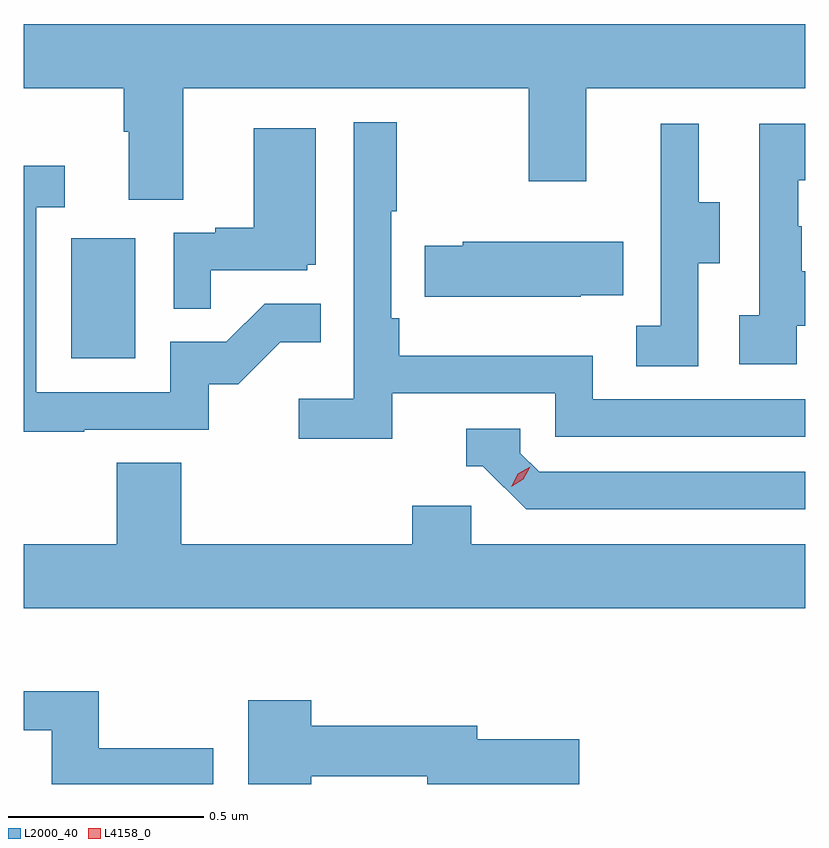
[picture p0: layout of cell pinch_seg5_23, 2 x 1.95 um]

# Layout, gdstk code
import gdstk
lib = gdstk.Library(unit=1e-6, precision=1e-09)
def R(c, l, rs):  # rectangles x0, y0, x1, y1
    for r in rs: c.add(gdstk.rectangle(r[:2], r[2:], *l))
def P(c, l, *ps):  # polygons
    for p in ps: c.add(gdstk.Polygon(p, *l))
L2000_40 = (2000, 40)
L4158_0 = (4158, 0)

pinch_seg5_23 = lib.new_cell('pinch_seg5_23')
R(pinch_seg5_23, L2000_40, [(1118.144,896.028,1118.308,896.335)])
P(pinch_seg5_23, L2000_40, [(1118.431,896.72),(1119.316,896.72),(1119.316,896.481),(1119.463,896.481),(1119.463,896.72),(1120.023,896.72),(1120.023,896.884),(1118.023,896.884),(1118.023,896.72),(1118.279,896.72),(1118.279,896.608),(1118.291,896.608),(1118.291,896.434),(1118.431,896.434)],
  [(1118.966,895.938),(1119.384,895.938),(1119.384,895.827),(1120.023,895.827),(1120.023,895.923),(1119.48,895.923),(1119.48,896.035),(1118.984,896.035),(1118.984,896.131),(1118.964,896.131),(1118.964,896.404),(1118.977,896.404),(1118.977,896.632),(1118.868,896.632),(1118.868,895.924),(1118.727,895.924),(1118.727,895.822),(1118.966,895.822)],
  [(1120.002,896.111),(1120.023,896.111),(1120.023,896.251),(1120.015,896.251),(1120.015,896.366),(1120.005,896.366),(1120.005,896.484),(1120.023,896.484),(1120.023,896.629),(1119.906,896.629),(1119.906,896.138),(1119.855,896.138),(1119.855,896.013),(1120.002,896.013)],
  [(1119.75,896.272),(1119.805,896.272),(1119.805,896.427),(1119.751,896.427),(1119.751,896.629),(1119.653,896.629),(1119.653,896.415),(1119.654,896.415),(1119.654,896.111),(1119.591,896.111),(1119.591,896.008),(1119.75,896.008)],
  [(1118.501,896.253),(1118.748,896.253),(1118.748,896.268),(1118.77,896.268),(1118.77,896.617),(1118.612,896.617),(1118.612,896.362),(1118.513,896.362),(1118.513,896.349),(1118.406,896.349),(1118.406,896.155),(1118.501,896.155)],
  [(1118.177,895.845),(1118.496,895.845),(1118.496,895.962),(1118.572,895.962),(1118.679,896.069),(1118.783,896.069),(1118.783,896.168),(1118.639,896.168),(1118.541,896.07),(1118.397,896.07),(1118.397,895.941),(1118.055,895.941),(1118.055,896.415),(1118.128,896.415),(1118.128,896.521),(1118.023,896.521),(1118.023,895.84),(1118.177,895.84)],
  [(1119.449,896.189),(1119.557,896.189),(1119.557,896.326),(1119.147,896.326),(1119.147,896.316),(1119.049,896.316),(1119.049,896.186),(1119.449,896.186)],
  [(1120.023,895.737),(1119.342,895.737),(1119.294,895.785),(1119.294,895.848),(1119.155,895.848),(1119.155,895.752),(1119.198,895.752),(1119.309,895.641),(1120.023,895.641)],
  [(1120.023,895.552),(1119.168,895.552),(1119.168,895.65),(1119.017,895.65),(1119.017,895.552),(1118.426,895.552),(1118.426,895.76),(1118.261,895.76),(1118.261,895.552),(1118.023,895.552),(1118.023,895.388),(1120.023,895.388)],
  [(1118.508,895.03),(1118.215,895.03),(1118.215,895.176),(1118.023,895.176),(1118.023,895.075),(1118.094,895.075),(1118.094,894.938),(1118.508,894.938)],
  [(1118.758,894.958),(1119.056,894.958),(1119.056,894.938),(1119.445,894.938),(1119.445,895.053),(1119.184,895.053),(1119.184,895.087),(1118.758,895.087),(1118.758,895.153),(1118.597,895.153),(1118.597,894.938),(1118.758,894.938)])
P(pinch_seg5_23, L4158_0, [(1119.271,895.699),(1119.271,895.699),(1119.288,895.732),(1119.319,895.75),(1119.319,895.75),(1119.319,895.75),(1119.302,895.718),(1119.271,895.699)])

lib.write_gds('pinch_seg5_23.gds')
